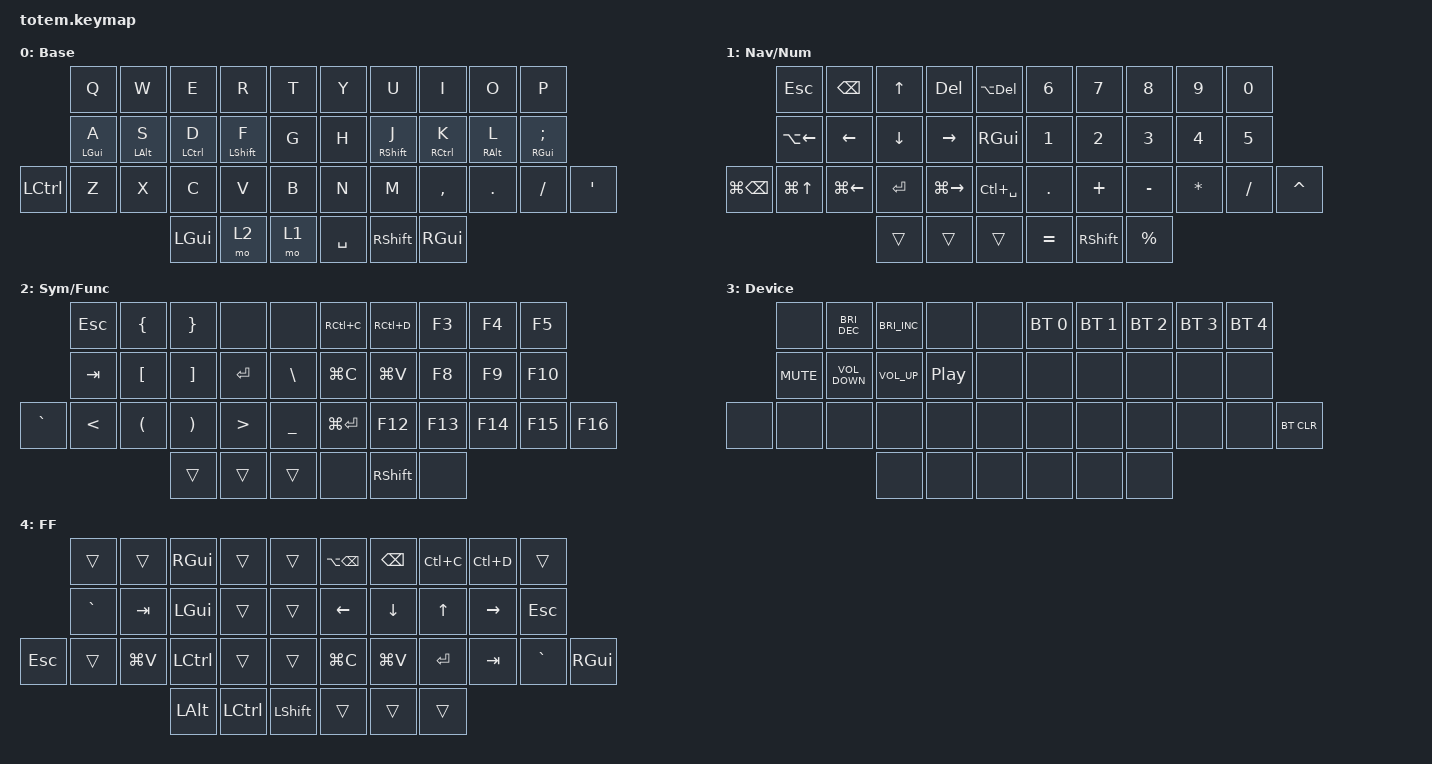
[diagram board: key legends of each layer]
//
//                                                        ▀▀▀▀▀     ▀▀▀▀▀          ▀▀█▀▀
//                                                        ▄▀▀▀▄  ▄  ▄▀▀▀▄  ▄  ▄▀▀▀▄  █  ▄▀▀▀▄
//                                                        █   █  █  █   █  █  █   █  █  █   █
//                                                         ▀▀▀   █   ▀▀▀   █   ▀▀▀   ▀   ▀▀▀
//                                                               █      ▄▄▄█▄▄▄    █   █  
//                                                               ▀      █  █  █     █▄█
//                                                             ▀▀▀▀▀    █  █  █      ▀
//                                                                      ▀  ▀  ▀
//
// ▄▄▄▄▄▄▄▄▄▄▄▄▄▄▄▄▄▄▄▄▄▄▄▄▄▄▄▄▄▄▄▄▄▄▄▄▄▄▄▄▄▄▄▄▄▄▄▄▄▄▄▄▄▄▄▄▄▄▄▄▄▄▄▄▄▄▄▄▄▄▄▄▄▄▄▄▄▄▄▄▄▄▄▄▄▄▄▄▄▄▄▄▄▄▄▄▄▄▄▄▄▄▄▄▄▄▄▄▄▄▄▄▄▄▄▄▄▄▄▄▄▄▄▄▄▄▄▄▄▄▄▄▄▄▄▄▄▄▄▄▄▄▄▄▄▄▄▄▄

#include <behaviors.dtsi>
#include <dt-bindings/zmk/bt.h>
#include <dt-bindings/zmk/keys.h>

/ {
    behaviors {
        // Home-row mod: "letters first, mods on hold."
        // balanced flavor + require-prior-idle-ms is the ZMK HRM community recipe.
        // Tune tapping-term-ms up (slower) if you get misfires, down (faster) if mods feel laggy.
        hm: homerow_mods {
            compatible = "zmk,behavior-hold-tap";
            #binding-cells = <2>;
            flavor = "balanced";
            tapping-term-ms = <200>;
            quick-tap-ms = <175>;
            require-prior-idle-ms = <150>;
            bindings = <&kp>, <&kp>;
        };
    };

    combos {
        compatible = "zmk,combos";

        combo_esc {
            timeout-ms = <30>;
            key-positions = <0 1>;
            bindings = <&kp ESCAPE>;
        };

        combo_tab {
            timeout-ms = <30>;
            key-positions = <21 22>;
            bindings = <&kp TAB>;
        };

        // Replaces the old `&lt 4 F` path to layer 4 (ff), now that F is Shift.
        combo_ff {
            timeout-ms = <30>;
            key-positions = <24 25>;
            bindings = <&mo 4>;
        };
    };

    macros {
        arrow: arrow {
            compatible = "zmk,behavior-macro";
            #binding-cells = <0>;
            bindings = <&kp MINUS>, <&kp GT>;
        };
    };

    keymap {
        compatible = "zmk,keymap";

        base {
            display-name = "Base";
            bindings = <
           &kp Q        &kp W        &kp E         &kp R          &kp T       &kp Y      &kp U              &kp I            &kp O         &kp P
           &hm LGUI A   &hm LALT S   &hm LCTRL D   &hm LSHFT F    &kp G       &kp H      &hm RSHFT J        &hm RCTRL K      &hm RALT L    &hm RGUI SEMI
&kp LCTRL  &kp Z        &kp X        &kp C         &kp V          &kp B       &kp N      &kp M              &kp COMMA        &kp DOT       &kp FSLH       &kp APOS
                                     &kp LGUI      &mo 2          &mo 1       &kp SPACE  &kp RIGHT_SHIFT    &kp RIGHT_GUI
            >;
        };

        nav_num {
            display-name = "Nav/Num";
            bindings = <
                   &kp ESCAPE          &kp BACKSPACE  &kp UP     &kp DELETE     &kp LA(DELETE)    &kp N6      &kp N7           &kp N8       &kp N9    &kp N0
                   &kp LA(LEFT_ARROW)  &kp LEFT       &kp DOWN   &kp RIGHT      &kp RIGHT_GUI     &kp N1      &kp N2           &kp N3       &kp N4    &kp N5
&kp LG(BACKSPACE)  &kp LG(UP_ARROW)    &kp LG(LEFT)   &kp ENTER  &kp LG(RIGHT)  &kp LC(SPACE)     &kp PERIOD  &kp PLUS         &kp MINUS    &kp STAR  &kp FSLH  &kp CARET
                                                      &trans     &trans         &trans            &kp EQUAL   &kp RIGHT_SHIFT  &kp PERCENT
            >;
        };

        sym_func {
            display-name = "Sym/Func";
            bindings = <
           &kp ESC        &kp LEFT_BRACE        &kp RIGHT_BRACE        &none             &none             &kp RC(C)      &kp RC(D)        &kp F3   &kp F4   &kp F5
           &kp TAB        &kp LBKT              &kp RBKT               &kp ENTER         &kp BSLH          &kp LG(C)      &kp LG(V)        &kp F8   &kp F9   &kp F10
&kp GRAVE  &kp LESS_THAN  &kp LEFT_PARENTHESIS  &kp RIGHT_PARENTHESIS  &kp GREATER_THAN  &kp UNDERSCORE    &kp LG(ENTER)  &kp F12          &kp F13  &kp F14  &kp F15  &kp F16
                                                &trans                 &trans            &trans            &none          &kp RIGHT_SHIFT  &none
            >;
        };

        device {
            display-name = "Device";
            bindings = <
       &none       &kp C_BRIGHTNESS_DEC  &kp C_BRIGHTNESS_INC  &none             &none    &bt BT_SEL 0  &bt BT_SEL 1  &bt BT_SEL 2  &bt BT_SEL 3  &bt BT_SEL 4
       &kp K_MUTE  &kp C_VOLUME_DOWN     &kp C_VOLUME_UP       &kp C_PLAY_PAUSE  &none    &none         &none         &none         &none         &none
&none  &none       &none                 &none                 &none             &none    &none         &none         &none         &none         &none         &bt BT_CLR
                                         &none                 &none             &none    &none         &none         &none
            >;
        };

        ff {
            display-name = "FF";
            bindings = <
         &trans     &trans     &kp RIGHT_GUI  &trans     &trans            &kp LA(BACKSPACE)  &kp BACKSPACE   &kp LC(C)     &kp LC(D)  &trans
         &kp GRAVE  &kp TAB    &kp LEFT_GUI   &trans     &trans            &kp LEFT           &kp DOWN_ARROW  &kp UP_ARROW  &kp RIGHT  &kp ESCAPE
&kp ESC  &trans     &kp LG(V)  &kp LCTRL      &trans     &trans            &kp LG(C)          &kp LG(V)       &kp RET       &kp TAB    &kp GRAVE   &kp RIGHT_GUI
                               &kp LEFT_ALT   &kp LCTRL  &kp LEFT_SHIFT    &trans             &trans          &trans
            >;
        };

        extra2 { status = "reserved"; };

        extra3 { status = "reserved"; };
    };

    conditional_layers {
        compatible = "zmk,conditional-layers";

        device {
            if-layers = <1 2>;
            then-layer = <3>;
        };
    };
};
